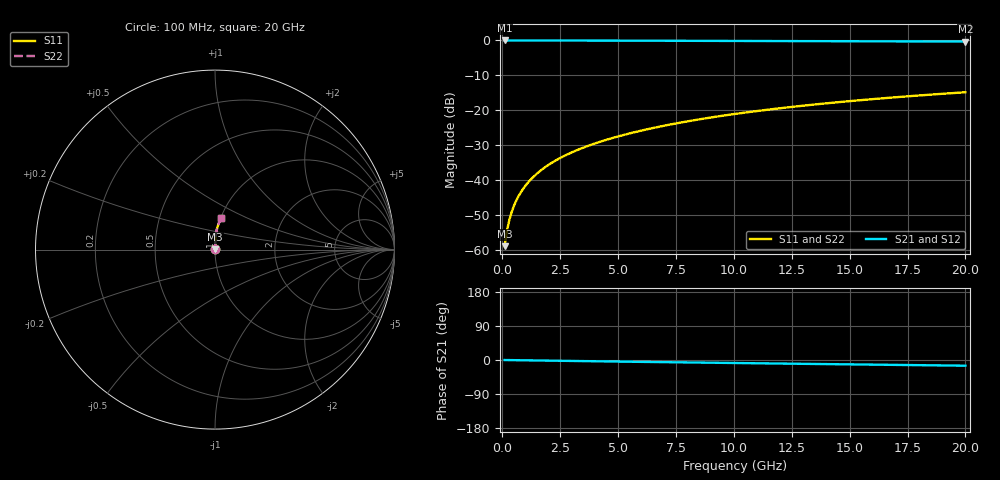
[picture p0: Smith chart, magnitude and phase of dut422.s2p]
! Touchstone file exported from HFSS 2024.1.0
!  File:  C:/UserFiles/LocalFiles/RDL_TSV_Batchsim/temp_RDL_top_422_1779676015.aedt
!  Generated:  10:29:12 AM May 25, 2026
!  Design:  RDL_top
!  Project:  temp_RDL_top_422_1779676015
!  Setup:  Setup1
!  Solution:  Sweep
! Variables:
!  dtsv = 10.80580581um
!  hbump = 3um
!  htsv = 71.13um
!  ldown = 100um
!  lrdl = 164.93um
!  p = 40
!  p1 = 58.03um
!  rhole = 1um
!  t = 450um
!  tdown = 3.915915916um
!  trdl = 4.95um
!  wdown = 15.38538539um
!  wrdl = 21.03um
# GHz S MA R 50.000000
! Terminal data exported
! Port[1] = Box2_T1
! Port[2] = Box2_T2
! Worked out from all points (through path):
!   200 points, 100 MHz to 20 GHz, reference 50 ohm
!   highest |S21| = -0.01 dB at 100 MHz (marker M1); lowest = -0.3 dB at 20 GHz (marker M2)
!   group delay of S21, straight-line fit = 2.07 ps
!   lowest |S11| = -59.0 dB at 100 MHz (marker M3), VSWR 1.00, Z = 50.1 + j0.0866 ohm
!   |S11| at or under -10 dB: start of sweep to end of sweep
!   |S22| runs from -59.0 to -14.9 dB; largest |S21 - S12| = 5.3e-15
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0.1  0.001119 50.6  0.9993 -0.1  0.9993 -0.1  0.001119 50.6
! Gamma 0 0 0 0
! Port Impedance 50 0 50 0
0.2  0.001857 66.4  0.9992 -0.2  0.9992 -0.2  0.001857 66.4
0.3  0.002635 73.0  0.9992 -0.3  0.9992 -0.3  0.002635 73.0
0.4  0.003423 76.7  0.9991 -0.3  0.9991 -0.3  0.003423 76.7
0.5  0.004217 79.1  0.9991 -0.4  0.9991 -0.4  0.004217 79.1
0.7  0.005821 82.0  0.999 -0.6  0.999 -0.6  0.005821 82.0
0.8  0.006628 83.0  0.999 -0.7  0.999 -0.7  0.006628 83.0
1  0.008249 84.4  0.9989 -0.9  0.9989 -0.9  0.008249 84.4
1.2  0.009877 85.3  0.9987 -1.0  0.9987 -1.0  0.009877 85.3
1.4  0.01151 86.0  0.9986 -1.2  0.9986 -1.2  0.01151 86.0
1.7  0.01397 86.8  0.9983 -1.5  0.9983 -1.5  0.01397 86.8
2  0.01644 87.3  0.998 -1.7  0.998 -1.7  0.01644 87.3
2.7  0.02226 88.1  0.9972 -2.3  0.9972 -2.3  0.02226 88.1
3.5  0.029 88.6  0.9961 -3.0  0.9961 -3.0  0.029 88.6
4.2  0.035 88.8  0.9949 -3.5  0.9949 -3.5  0.035 88.8
5  0.04196 88.8  0.9935 -4.2  0.9935 -4.2  0.04196 88.8
6.8  0.05808 88.5  0.99 -5.6  0.99 -5.6  0.05808 88.5
8.4  0.07281 87.7  0.9869 -6.8  0.9869 -6.8  0.07281 87.7
10.1  0.0887 86.7  0.9835 -8.0  0.9835 -8.0  0.0887 86.7
13.4  0.1197 84.2  0.9771 -10.4  0.9771 -10.4  0.1197 84.2
16.7  0.1505 81.5  0.9705 -12.7  0.9705 -12.7  0.1505 81.5
20  0.1807 78.9  0.9636 -15.0  0.9636 -15.0  0.1807 78.9
